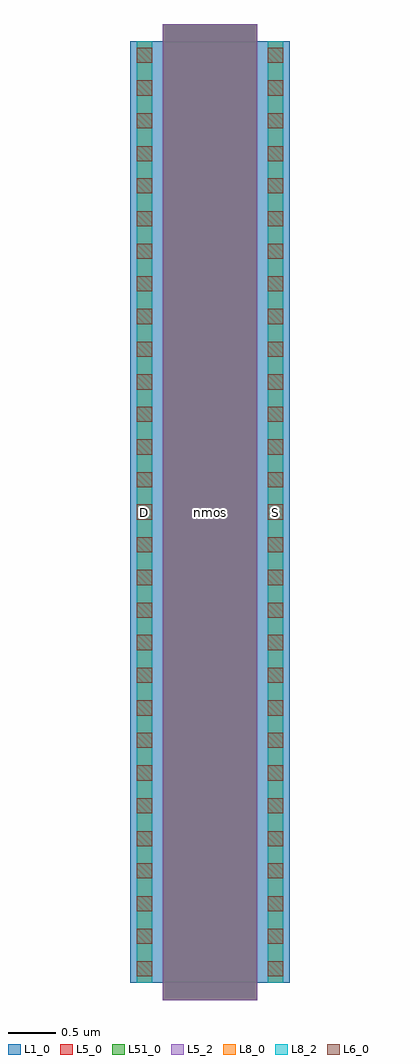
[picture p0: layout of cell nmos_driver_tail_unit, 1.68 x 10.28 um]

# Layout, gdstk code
import gdstk
lib = gdstk.Library(unit=1e-6, precision=1e-09)
def R(c, l, rs):  # rectangles x0, y0, x1, y1
    for r in rs: c.add(gdstk.rectangle(r[:2], r[2:], *l))
def A(c, l, x, y, w, h, nx, ny, dx, dy):  # array of equal rectangles
    R(c, l, [(x+i*dx, y+j*dy, x+i*dx+w, y+j*dy+h) for i in range(nx) for j in range(ny)])
L1_0 = (1, 0)
L5_0 = (5, 0)
L5_2 = (5, 2)
L6_0 = (6, 0)
L8_0 = (8, 0)
L8_2 = (8, 2)
L51_0 = (51, 0)

nmos_driver_tail_unit = lib.new_cell('nmos_driver_tail_unit')
R(nmos_driver_tail_unit, L1_0, [(0,0,0.3,0.3), (0,0,1.68,9.92), (1.38,0,1.68,0.3)])
R(nmos_driver_tail_unit, L5_0, [(0.34,-0.18,1.34,10.1)])
R(nmos_driver_tail_unit, L5_2, [(0.34,-0.18,1.34,10.1)])
A(nmos_driver_tail_unit, L6_0, 0.07, 0.41, 0.16, 0.16, 1, 3, 0, 0.345)
A(nmos_driver_tail_unit, L6_0, 1.45, 0.41, 0.16, 0.16, 1, 3, 0, 0.345)
A(nmos_driver_tail_unit, L6_0, 0.07, 1.44, 0.16, 0.16, 1, 4, 0, 0.345)
A(nmos_driver_tail_unit, L6_0, 1.45, 1.44, 0.16, 0.16, 1, 4, 0, 0.345)
A(nmos_driver_tail_unit, L6_0, 0.07, 2.815, 0.16, 0.16, 1, 3, 0, 0.345)
A(nmos_driver_tail_unit, L6_0, 1.45, 2.815, 0.16, 0.16, 1, 3, 0, 0.345)
A(nmos_driver_tail_unit, L6_0, 0.07, 3.845, 0.16, 0.16, 1, 4, 0, 0.345)
A(nmos_driver_tail_unit, L6_0, 1.45, 3.845, 0.16, 0.16, 1, 4, 0, 0.345)
A(nmos_driver_tail_unit, L6_0, 0.07, 5.22, 0.16, 0.16, 1, 3, 0, 0.345)
A(nmos_driver_tail_unit, L6_0, 1.45, 5.22, 0.16, 0.16, 1, 3, 0, 0.345)
A(nmos_driver_tail_unit, L6_0, 0.07, 6.25, 0.16, 0.16, 1, 4, 0, 0.345)
A(nmos_driver_tail_unit, L6_0, 1.45, 6.25, 0.16, 0.16, 1, 4, 0, 0.345)
A(nmos_driver_tail_unit, L6_0, 0.07, 7.625, 0.16, 0.16, 1, 3, 0, 0.345)
A(nmos_driver_tail_unit, L6_0, 1.45, 7.625, 0.16, 0.16, 1, 3, 0, 0.345)
A(nmos_driver_tail_unit, L6_0, 0.07, 8.655, 0.16, 0.16, 1, 4, 0, 0.345)
A(nmos_driver_tail_unit, L6_0, 1.45, 8.655, 0.16, 0.16, 1, 4, 0, 0.345)
R(nmos_driver_tail_unit, L6_0, [(0.07,0.07,0.23,0.23), (1.45,0.07,1.61,0.23)])
R(nmos_driver_tail_unit, L8_0, [(0.07,0,0.23,9.92), (1.45,0,1.61,9.92)])
R(nmos_driver_tail_unit, L8_2, [(0.07,0,0.23,9.92), (1.45,0,1.61,9.92)])
R(nmos_driver_tail_unit, L51_0, [(0.34,-0.18,1.34,10.1)])
nmos_driver_tail_unit.add(gdstk.Label('nmos', (0.84,4.96), layer=63, texttype=0))
nmos_driver_tail_unit.add(gdstk.Label('nmos', (0.84,4.96), layer=51, texttype=0))
nmos_driver_tail_unit.add(gdstk.Label('D', (0.15,4.96), layer=8, texttype=25))
nmos_driver_tail_unit.add(gdstk.Label('S', (1.53,4.96), layer=8, texttype=25))

lib.write_gds('nmos_driver_tail_unit.gds')
